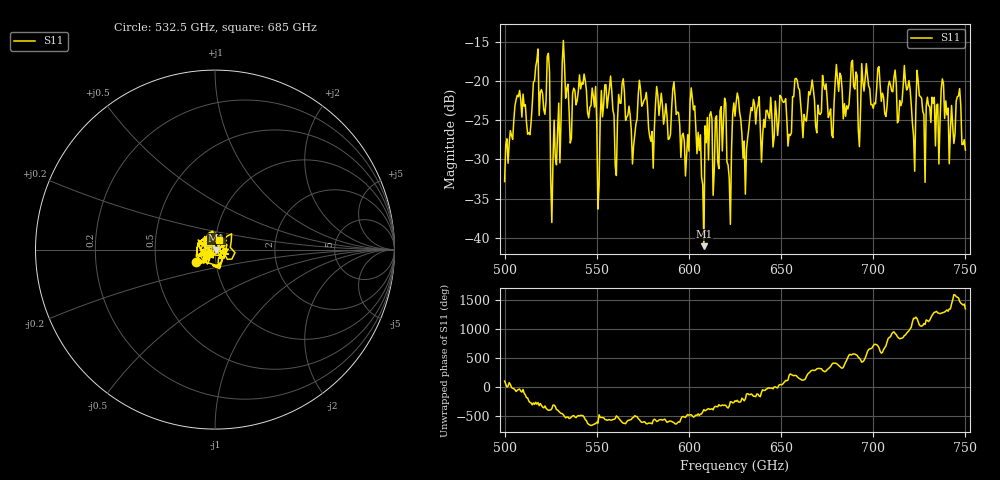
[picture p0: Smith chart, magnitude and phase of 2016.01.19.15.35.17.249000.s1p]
!Created with skrf (http://scikit-rf.org).
# GHz S RI R 50.0
!freq ReS11 ImS11
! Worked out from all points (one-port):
!   401 points, 500 GHz to 750 GHz, reference 50 ohm
!   lowest |S11| = -41.1 dB at 608.1 GHz (marker M1), VSWR 1.02, Z = 50.8 - j0.438 ohm
!   |S11| at or under -10 dB: start of sweep to end of sweep
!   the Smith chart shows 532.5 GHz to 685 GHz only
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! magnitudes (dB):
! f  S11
! 500 GHz  -32.8
! 506.9 GHz  -21.8
! 513.8 GHz  -26.8
! 516.9 GHz  -18.1
! 523.1 GHz  -16.9
! 526.2 GHz  -30.1
! 531.2 GHz  -17.7
! 543.1 GHz  -19.1
! 551.2 GHz  -33.3
! 553.8 GHz  -22.9
! 560 GHz  -30.8
! 562.5 GHz  -22.8
! 593.8 GHz  -23.9
! 598.8 GHz  -29.5
! 601.9 GHz  -22.2
! 608.1 GHz  -41.1
! 618.8 GHz  -25.2
! 621.9 GHz  -32.4
! 625 GHz  -24.5
! 630.6 GHz  -34.5
! 634.4 GHz  -23.8
! 656.2 GHz  -22.0
! 687.5 GHz  -20.8
! 718.8 GHz  -20.8
! 721.9 GHz  -27.0
! 725 GHz  -21.8
! 746.2 GHz  -21.9
! 750 GHz  -28.8
